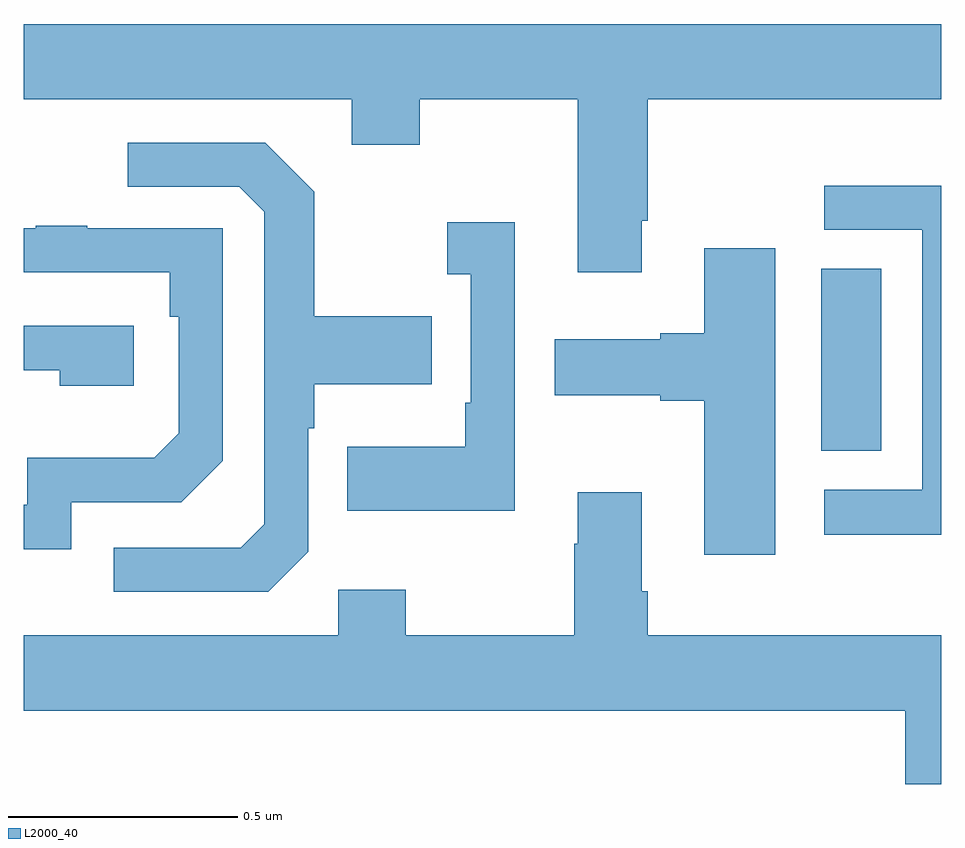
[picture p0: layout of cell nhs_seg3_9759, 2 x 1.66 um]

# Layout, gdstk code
import gdstk
lib = gdstk.Library(unit=1e-6, precision=1e-09)
def R(c, l, rs):  # rectangles x0, y0, x1, y1
    for r in rs: c.add(gdstk.rectangle(r[:2], r[2:], *l))
def P(c, l, *ps):  # polygons
    for p in ps: c.add(gdstk.Polygon(p, *l))
L2000_40 = (2000, 40)

nhs_seg3_9759 = lib.new_cell('nhs_seg3_9759')
R(nhs_seg3_9759, L2000_40, [(233.738,724.126,233.869,724.523)])
P(nhs_seg3_9759, L2000_40, [(233.347,724.627),(233.36,724.627),(233.36,724.892),(234,724.892),(234,725.056),(232,725.056),(232,724.892),(232.715,724.892),(232.715,724.793),(232.863,724.793),(232.863,724.892),(233.207,724.892),(233.207,724.515),(233.347,724.515)],
  [(232.62,723.906),(232.62,724.175),(232.633,724.175),(232.633,724.271),(232.889,724.271),(232.889,724.419),(232.633,724.419),(232.633,724.691),(232.527,724.797),(232.227,724.797),(232.227,724.701),(232.47,724.701),(232.524,724.647),(232.524,723.966),(232.473,723.915),(232.197,723.915),(232.197,723.819),(232.533,723.819)],
  [(234,724.704),(233.745,724.704),(233.745,724.608),(233.958,724.608),(233.958,724.041),(233.745,724.041),(233.745,723.943),(234,723.943)],
  [(233.07,724.624),(232.923,724.624),(232.923,724.511),(232.974,724.511),(232.974,724.231),(232.962,724.231),(232.962,724.135),(232.705,724.135),(232.705,723.995),(233.07,723.995)],
  [(232.104,724.014),(232.344,724.014),(232.434,724.104),(232.434,724.611),(232.139,724.611),(232.139,724.616),(232.027,724.616),(232.027,724.611),(232,724.611),(232,724.515),(232.318,724.515),(232.318,724.418),(232.338,724.418),(232.338,724.164),(232.285,724.111),(232.008,724.111),(232.008,724.008),(232,724.008),(232,723.912),(232.104,723.912)],
  [(233.638,724.567),(233.483,724.567),(233.483,724.382),(233.387,724.382),(233.387,724.369),(233.157,724.369),(233.157,724.247),(233.387,724.247),(233.387,724.235),(233.483,724.235),(233.483,723.9),(233.638,723.9)],
  [(232.24,724.398),(232,724.398),(232,724.302),(232.079,724.302),(232.079,724.268),(232.24,724.268)],
  [(234,723.724),(233.36,723.724),(233.36,723.82),(233.347,723.82),(233.347,724.036),(233.207,724.036),(233.207,723.923),(233.2,723.923),(233.2,723.724),(232.833,723.724),(232.833,723.823),(232.686,723.823),(232.686,723.724),(232,723.724),(232,723.56),(233.921,723.56),(233.921,723.4),(234,723.4)])

lib.write_gds('nhs_seg3_9759.gds')
